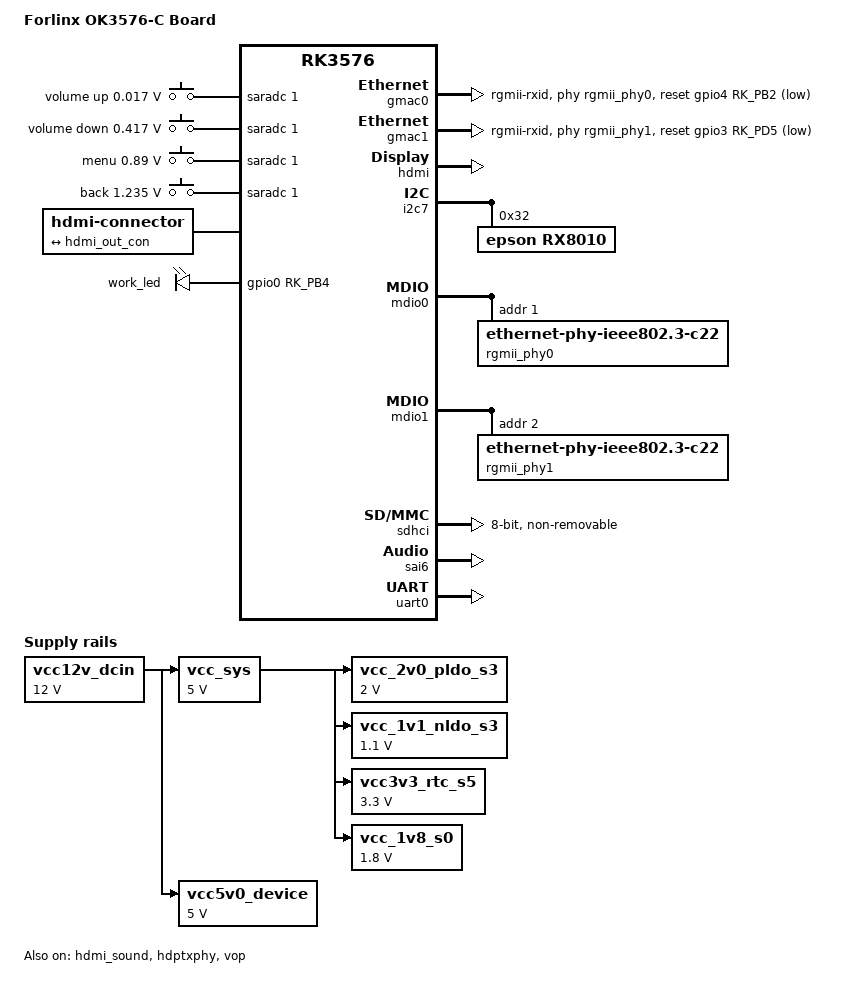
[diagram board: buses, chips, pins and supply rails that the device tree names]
// SPDX-License-Identifier: (GPL-2.0+ OR MIT)
/*
 * Copyright (c) 2024 Rockchip Electronics Co., Ltd.
 *
 */

/dts-v1/;
#include <dt-bindings/usb/pd.h>
#include <dt-bindings/gpio/gpio.h>
#include <dt-bindings/pinctrl/rockchip.h>
#include <dt-bindings/input/input.h>
#include <dt-bindings/soc/rockchip,boot-mode.h>
#include <dt-bindings/soc/rockchip,vop2.h>
#include "rk3576.dtsi"

/ {
	model = "Forlinx OK3576-C Board";
	compatible = "rockchip,OK3576-C", "rockchip,rk3576";

	aliases {
		ethernet0 = &gmac0;
		ethernet1 = &gmac1;
		mmc0 = &sdhci;
		rtc0 = &rx8010;
	};

	chosen: chosen {
		stdout-path = "serial0:1500000n8";
		bootargs = "earlycon=uart8250,mmio32,0x2ad40000,1500000n8 console=ttyS0,1500000n8";
	};

	adc_keys: adc-keys {
		compatible = "adc-keys";
		io-channels = <&saradc 1>;
		io-channel-names = "buttons";
		keyup-threshold-microvolt = <1800000>;
		poll-interval = <100>;

		vol-up-key {
			label = "volume up";
			linux,code = <KEY_VOLUMEUP>;
			press-threshold-microvolt = <17000>;
		};

		vol-down-key {
			label = "volume down";
			linux,code = <KEY_VOLUMEDOWN>;
			press-threshold-microvolt = <417000>;
		};

		menu-key {
			label = "menu";
			linux,code = <KEY_MENU>;
			press-threshold-microvolt = <890000>;
		};

		back-key {
			label = "back";
			linux,code = <KEY_BACK>;
			press-threshold-microvolt = <1235000>;
		};
	};

	hdmi-con {
		compatible = "hdmi-connector";
		type = "a";

		port {
			hdmi_con_in: endpoint {
				remote-endpoint = <&hdmi_out_con>;
			};
		};
	};

	leds: leds {
		compatible = "gpio-leds";
		work_led: work {
			gpios = <&gpio0 RK_PB4 GPIO_ACTIVE_HIGH>;
			linux,default-trigger = "heartbeat";
		};
	};

	test-power {
		status = "okay";
	};

	vcc12v_dcin: vcc12v-dcin {
		compatible = "regulator-fixed";
		regulator-name = "vcc12v_dcin";
		regulator-always-on;
		regulator-boot-on;
		regulator-min-microvolt = <12000000>;
		regulator-max-microvolt = <12000000>;
	};

	vcc_sys: vcc5v0-sys {
		compatible = "regulator-fixed";
		regulator-name = "vcc5v0_sys";
		regulator-always-on;
		regulator-boot-on;
		regulator-min-microvolt = <5000000>;
		regulator-max-microvolt = <5000000>;
		vin-supply = <&vcc12v_dcin>;
	};

	vcc5v0_device: vcc5v0-device {
		compatible = "regulator-fixed";
		regulator-name = "vcc5v0_device";
		regulator-always-on;
		regulator-boot-on;
		regulator-min-microvolt = <5000000>;
		regulator-max-microvolt = <5000000>;
		vin-supply = <&vcc12v_dcin>;
	};

	vcc_2v0_pldo_s3: vcc-2v0-pldo-s3 {
		compatible = "regulator-fixed";
		regulator-name = "vcc_2v0_pldo_s3";
		regulator-boot-on;
		regulator-always-on;
		regulator-min-microvolt = <2000000>;
		regulator-max-microvolt = <2000000>;
		vin-supply = <&vcc_sys>;
	};

	vcc_1v1_nldo_s3: vcc-1v1-nldo-s3 {
		compatible = "regulator-fixed";
		regulator-name = "vcc_1v1_nldo_s3";
		regulator-boot-on;
		regulator-always-on;
		regulator-min-microvolt = <1100000>;
		regulator-max-microvolt = <1100000>;
		vin-supply = <&vcc_sys>;
	};

	vcc3v3_rtc_s5: vcc3v3-rtc-s5 {
		compatible = "regulator-fixed";
		regulator-name = "vcc3v3_rtc_s5";
		regulator-boot-on;
		regulator-always-on;
		regulator-min-microvolt = <3300000>;
		regulator-max-microvolt = <3300000>;
		vin-supply = <&vcc_sys>;
	};

	vcc_1v8_s0: vcc-1v8-s0 {
		compatible = "regulator-fixed";
		regulator-name = "vcc_1v8_s0";
		regulator-boot-on;
		regulator-always-on;
		regulator-min-microvolt = <1800000>;
		regulator-max-microvolt = <1800000>;
		vin-supply = <&vcc_sys>;
	};
};

&gmac0 {
	clock_in_out = "output";
	phy-mode = "rgmii-rxid";
	phy-handle = <&rgmii_phy0>;
	pinctrl-names = "default";
	pinctrl-0 = <&eth0m0_miim
		     &eth0m0_tx_bus2
		     &eth0m0_rx_bus2
		     &eth0m0_rgmii_clk
		     &eth0m0_rgmii_bus
		     &ethm0_clk0_25m_out>;
	snps,reset-gpio = <&gpio4 RK_PB2 GPIO_ACTIVE_LOW>;
	snps,reset-active-low;
	snps,reset-delays-us = <0 20000 100000>;
	tx_delay = <0x21>;
	status = "okay";
};

&gmac1 {
	clock_in_out = "output";
	phy-handle = <&rgmii_phy1>;
	phy-mode = "rgmii-rxid";
	pinctrl-names = "default";
	pinctrl-0 = <&eth1m0_miim
		     &eth1m0_tx_bus2
		     &eth1m0_rx_bus2
		     &eth1m0_rgmii_clk
		     &eth1m0_rgmii_bus
		     &ethm0_clk1_25m_out>;
	snps,reset-gpio = <&gpio3 RK_PD5 GPIO_ACTIVE_LOW>;
	snps,reset-active-low;
	snps,reset-delays-us = <0 20000 100000>;
	tx_delay = <0x20>;
	status = "okay";
};

&hdmi {
	status = "okay";
};

&hdmi_in {
	hdmi_in_vp0: endpoint {
		remote-endpoint = <&vp0_out_hdmi>;
	};
};

&hdmi_out {
	hdmi_out_con: endpoint {
		remote-endpoint = <&hdmi_con_in>;
	};
};

&hdmi_sound {
	status = "okay";
};

&hdptxphy {
	status = "okay";
};

&i2c7 {
	pinctrl-names = "default";
	pinctrl-0 = <&i2c7m1_xfer>;
	status = "okay";

	rx8010: rtc@32 {
		compatible = "epson,rx8010";
		reg = <0x32>;
		status = "okay";
	};
};

&mdio0 {
	rgmii_phy0: phy@1 {
		compatible = "ethernet-phy-ieee802.3-c22";
		reg = <0x1>;
		clocks = <&cru REFCLKO25M_GMAC0_OUT>;
	};
};

&mdio1 {
	rgmii_phy1: phy@2 {
		compatible = "ethernet-phy-ieee802.3-c22";
		reg = <0x2>;
		clocks = <&cru REFCLKO25M_GMAC1_OUT>;
	};
};

&pmu0_grf {
	reboot-mode {
		compatible = "syscon-reboot-mode";
		offset = <0x40>;
		mode-normal = <BOOT_NORMAL>;
		mode-loader = <BOOT_BL_DOWNLOAD>;
		/* BOOT_BROM_DOWNLOAD, checked by Rockchip SPL before U-Boot proper. */
		mode-maskrom = <0xef08a53c>;
	};
};

&sdhci {
	bus-width = <8>;
	full-pwr-cycle-in-suspend;
	max-frequency = <200000000>;
	mmc-hs400-1_8v;
	mmc-hs400-enhanced-strobe;
	no-sdio;
	no-sd;
	non-removable;
	status = "okay";
};

&sai6 {
	status = "okay";
};

&uart0 {
	pinctrl-0 = <&uart0m0_xfer>;
	status = "okay";
};

&vop {
	status = "okay";
};

&vop_mmu {
	status = "okay";
};

&vp0 {
	vp0_out_hdmi: endpoint@ROCKCHIP_VOP2_EP_HDMI0 {
		reg = <ROCKCHIP_VOP2_EP_HDMI0>;
		remote-endpoint = <&hdmi_in_vp0>;
	};
};
